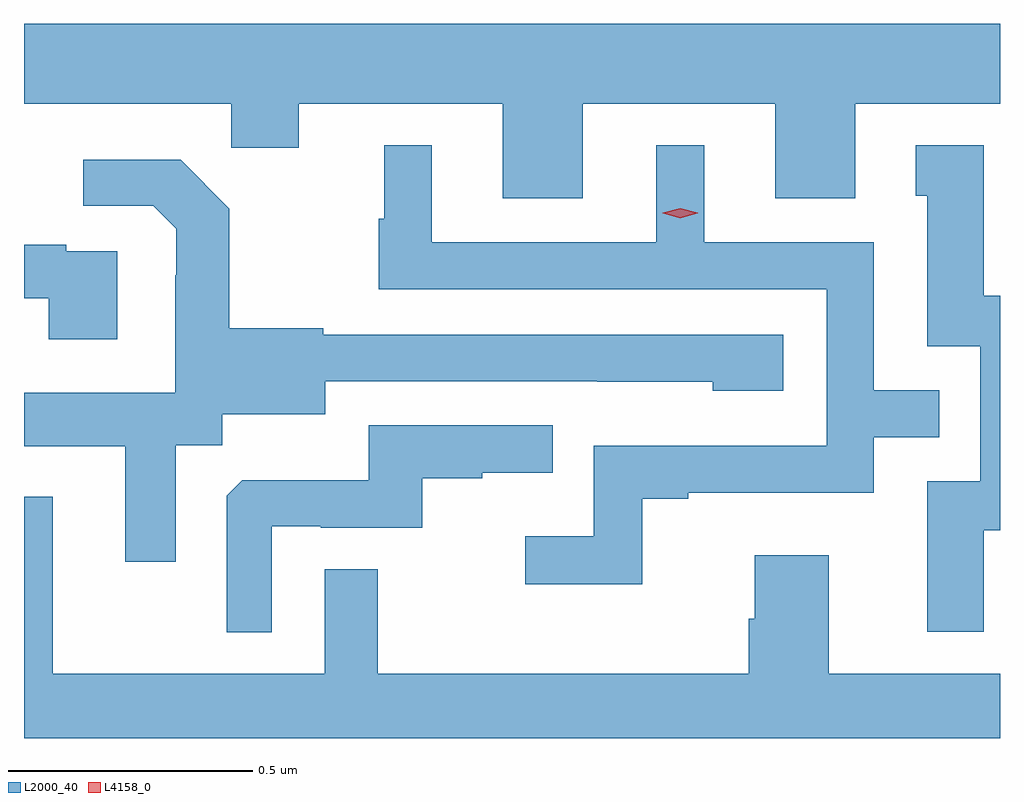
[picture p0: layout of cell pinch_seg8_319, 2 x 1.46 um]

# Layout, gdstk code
import gdstk
lib = gdstk.Library(unit=1e-6, precision=1e-09)
def P(c, l, *ps):  # polygons
    for p in ps: c.add(gdstk.Polygon(p, *l))
L2000_40 = (2000, 40)
L4158_0 = (4158, 0)

pinch_seg8_319 = lib.new_cell('pinch_seg8_319')
P(pinch_seg8_319, L2000_40, [(534.559,1127.156),(534.953,1127.156),(534.953,1126.962),(535.117,1126.962),(535.117,1127.156),(535.414,1127.156),(535.414,1127.32),(533.414,1127.32),(533.414,1127.156),(533.839,1127.156),(533.839,1127.066),(533.977,1127.066),(533.977,1127.156),(534.395,1127.156),(534.395,1126.962),(534.559,1126.962)],
  [(535.381,1126.282),(535.414,1126.282),(535.414,1126.763),(535.381,1126.763),(535.381,1127.071),(535.241,1127.071),(535.241,1126.968),(535.265,1126.968),(535.265,1126.659),(535.374,1126.659),(535.374,1126.383),(535.265,1126.383),(535.265,1126.074),(535.381,1126.074)],
  [(534.681,1126.347),(534.775,1126.347),(534.775,1126.359),(535.155,1126.359),(535.155,1126.473),(535.289,1126.473),(535.289,1126.569),(535.155,1126.569),(535.155,1126.872),(534.808,1126.872),(534.808,1127.071),(534.71,1127.071),(534.71,1126.872),(534.25,1126.872),(534.25,1127.071),(534.152,1127.071),(534.152,1126.92),(534.141,1126.92),(534.141,1126.776),(535.059,1126.776),(535.059,1126.455),(534.582,1126.455),(534.582,1126.27),(534.441,1126.27),(534.441,1126.172),(534.681,1126.172)],
  [(533.725,1126.456),(533.82,1126.456),(533.82,1126.52),(534.031,1126.52),(534.031,1126.587),(534.589,1126.587),(534.589,1126.586),(534.825,1126.586),(534.825,1126.568),(534.97,1126.568),(534.97,1126.683),(534.027,1126.683),(534.027,1126.696),(533.835,1126.696),(533.835,1126.941),(533.735,1127.041),(533.535,1127.041),(533.535,1126.947),(533.679,1126.947),(533.726,1126.9),(533.726,1126.805),(533.724,1126.805),(533.724,1126.564),(533.414,1126.564),(533.414,1126.454),(533.621,1126.454),(533.621,1126.218),(533.725,1126.218)],
  [(533.605,1126.854),(533.501,1126.854),(533.501,1126.867),(533.414,1126.867),(533.414,1126.758),(533.465,1126.758),(533.465,1126.674),(533.605,1126.674)],
  [(533.922,1126.29),(534.022,1126.29),(534.022,1126.287),(534.23,1126.287),(534.23,1126.389),(534.353,1126.389),(534.353,1126.4),(534.497,1126.4),(534.497,1126.497),(534.12,1126.497),(534.12,1126.385),(533.861,1126.385),(533.829,1126.353),(533.829,1126.073),(533.922,1126.073)],
  [(535.414,1125.988),(535.063,1125.988),(535.063,1126.231),(534.911,1126.231),(534.911,1126.101),(534.899,1126.101),(534.899,1125.988),(534.139,1125.988),(534.139,1126.202),(534.03,1126.202),(534.03,1125.988),(533.473,1125.988),(533.473,1126.351),(533.414,1126.351),(533.414,1125.856),(535.414,1125.856)])
P(pinch_seg8_319, L4158_0, [(534.759,1126.922),(534.723,1126.932),(534.723,1126.932),(534.723,1126.933),(534.759,1126.942),(534.795,1126.933),(534.795,1126.932),(534.795,1126.932)])

lib.write_gds('pinch_seg8_319.gds')
